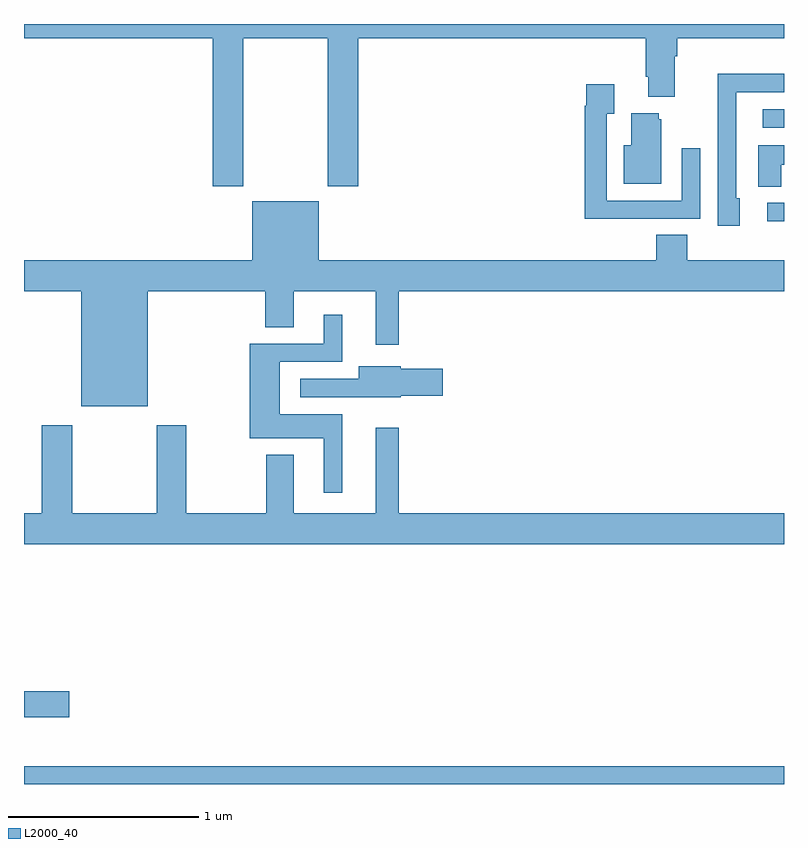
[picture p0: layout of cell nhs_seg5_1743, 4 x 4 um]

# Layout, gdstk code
import gdstk
lib = gdstk.Library(unit=1e-6, precision=1e-09)
def R(c, l, rs):  # rectangles x0, y0, x1, y1
    for r in rs: c.add(gdstk.rectangle(r[:2], r[2:], *l))
def P(c, l, *ps):  # polygons
    for p in ps: c.add(gdstk.Polygon(p, *l))
L2000_40 = (2000, 40)

nhs_seg5_1743 = lib.new_cell('nhs_seg5_1743')
R(nhs_seg5_1743, L2000_40, [(215,888.799,219,888.892), (215,889.151,215.239,889.286), (218.913,891.761,219,891.858), (218.889,892.254,219,892.35)])
P(nhs_seg5_1743, L2000_40, [(216.153,892.724),(216.598,892.724),(216.598,891.945),(216.758,891.945),(216.758,892.724),(218.273,892.724),(218.273,892.522),(218.285,892.522),(218.285,892.415),(218.425,892.415),(218.425,892.628),(218.438,892.628),(218.438,892.724),(219,892.724),(219,892.799),(215,892.799),(215,892.724),(215.993,892.724),(215.993,891.945),(216.153,891.945)],
  [(218.767,891.882),(218.748,891.882),(218.748,892.44),(219,892.44),(219,892.538),(218.65,892.538),(218.65,892.231),(218.652,892.231),(218.652,891.738),(218.767,891.738)],
  [(218.243,891.774),(218.559,891.774),(218.559,892.144),(218.463,892.144),(218.463,891.87),(218.067,891.87),(218.067,892.327),(218.107,892.327),(218.107,892.483),(217.959,892.483),(217.959,892.37),(217.951,892.37),(217.951,891.773),(218.243,891.773)],
  [(218.353,892.299),(218.342,892.299),(218.342,892.33),(218.195,892.33),(218.195,892.162),(218.156,892.162),(218.156,891.959),(218.353,891.959)],
  [(218.985,892.058),(219,892.058),(219,892.162),(218.864,892.162),(218.864,891.943),(218.985,891.943)],
  [(215.65,891.392),(216.269,891.392),(216.269,891.202),(216.421,891.202),(216.421,891.392),(216.851,891.392),(216.851,891.111),(216.973,891.111),(216.973,891.392),(219,891.392),(219,891.556),(218.492,891.556),(218.492,891.689),(218.327,891.689),(218.327,891.556),(216.55,891.556),(216.55,891.865),(216.2,891.865),(216.2,891.556),(215,891.556),(215,891.392),(215.3,891.392),(215.3,890.786),(215.65,890.786)],
  [(216.676,890.746),(216.346,890.746),(216.346,891.021),(216.676,891.021),(216.676,891.268),(216.578,891.268),(216.578,891.117),(216.188,891.117),(216.188,890.618),(216.578,890.618),(216.578,890.331),(216.676,890.331)],
  [(216.984,890.843),(217.204,890.843),(217.204,890.985),(216.984,890.985),(216.984,890.998),(216.761,890.998),(216.761,890.931),(216.453,890.931),(216.453,890.835),(216.765,890.835),(216.765,890.834),(216.984,890.834)],
  [(219,890.224),(216.973,890.224),(216.973,890.674),(216.851,890.674),(216.851,890.224),(216.421,890.224),(216.421,890.533),(216.274,890.533),(216.274,890.224),(215.853,890.224),(215.853,890.686),(215.698,890.686),(215.698,890.224),(215.253,890.224),(215.253,890.686),(215.093,890.686),(215.093,890.224),(215,890.224),(215,890.06),(219,890.06)])

lib.write_gds('nhs_seg5_1743.gds')
